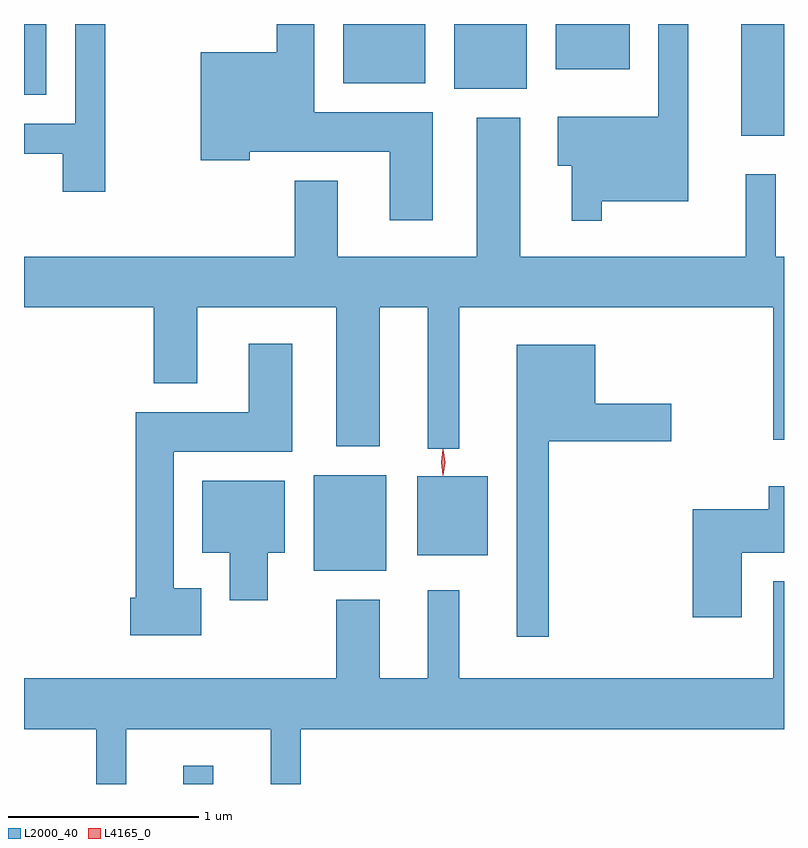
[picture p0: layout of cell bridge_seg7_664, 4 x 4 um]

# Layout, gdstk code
import gdstk
lib = gdstk.Library(unit=1e-6, precision=1e-09)
def R(c, l, rs):  # rectangles x0, y0, x1, y1
    for r in rs: c.add(gdstk.rectangle(r[:2], r[2:], *l))
def P(c, l, *ps):  # polygons
    for p in ps: c.add(gdstk.Polygon(p, *l))
L2000_40 = (2000, 40)
L4165_0 = (4165, 0)

bridge_seg7_664 = lib.new_cell('bridge_seg7_664')
R(bridge_seg7_664, L2000_40, [(962.576,1671.848,962.734,1671.943), (963.261,1672.971,963.644,1673.474), (963.806,1673.051,964.179,1673.469), (965.511,1675.261,965.737,1675.848), (961.737,1675.476,961.854,1675.848), (964.001,1675.506,964.384,1675.848), (963.416,1675.536,963.849,1675.848), (964.536,1675.611,964.924,1675.848)])
P(bridge_seg7_664, L2000_40, [(963.889,1675.384),(963.264,1675.384),(963.264,1675.848),(963.066,1675.848),(963.066,1675.699),(962.666,1675.699),(962.666,1675.131),(962.924,1675.131),(962.924,1675.176),(963.661,1675.176),(963.661,1674.816),(963.889,1674.816)],
  [(962.164,1675.848),(962.006,1675.848),(962.006,1675.324),(961.737,1675.324),(961.737,1675.166),(961.941,1675.166),(961.941,1674.966),(962.164,1674.966)],
  [(964.779,1674.916),(965.234,1674.916),(965.234,1675.848),(965.076,1675.848),(965.076,1675.359),(964.546,1675.359),(964.546,1675.101),(964.621,1675.101),(964.621,1674.813),(964.779,1674.813)],
  [(964.029,1674.356),(965.681,1674.356),(965.681,1673.661),(965.737,1673.661),(965.737,1674.624),(965.694,1674.624),(965.694,1675.058),(965.536,1675.058),(965.536,1674.624),(964.349,1674.624),(964.349,1675.354),(964.121,1675.354),(964.121,1674.624),(963.389,1674.624),(963.389,1675.024),(963.161,1675.024),(963.161,1674.624),(961.737,1674.624),(961.737,1674.356),(962.421,1674.356),(962.421,1673.956),(962.649,1673.956),(962.649,1674.356),(963.381,1674.356),(963.381,1673.626),(963.609,1673.626),(963.609,1674.356),(963.861,1674.356),(963.861,1673.613),(964.029,1673.613)],
  [(962.669,1672.879),(962.524,1672.879),(962.524,1673.596),(963.149,1673.596),(963.149,1674.164),(962.921,1674.164),(962.921,1673.804),(962.326,1673.804),(962.326,1672.829),(962.296,1672.829),(962.296,1672.631),(962.669,1672.631)],
  [(964.499,1673.651),(965.144,1673.651),(965.144,1673.849),(964.744,1673.849),(964.744,1674.159),(964.331,1674.159),(964.331,1672.623),(964.499,1672.623)],
  [(963.019,1673.066),(963.109,1673.066),(963.109,1673.444),(962.676,1673.444),(962.676,1673.066),(962.821,1673.066),(962.821,1672.816),(963.019,1672.816)],
  [(965.514,1673.066),(965.737,1673.066),(965.737,1673.414),(965.656,1673.414),(965.656,1673.294),(965.256,1673.294),(965.256,1672.726),(965.514,1672.726)],
  [(962.274,1672.136),(963.036,1672.136),(963.036,1671.848),(963.194,1671.848),(963.194,1672.136),(965.737,1672.136),(965.737,1672.914),(965.681,1672.914),(965.681,1672.404),(964.029,1672.404),(964.029,1672.868),(963.861,1672.868),(963.861,1672.404),(963.609,1672.404),(963.609,1672.819),(963.381,1672.819),(963.381,1672.404),(961.737,1672.404),(961.737,1672.136),(962.116,1672.136),(962.116,1671.848),(962.274,1671.848)])
P(bridge_seg7_664, L4165_0, [(963.942,1673.474),(963.933,1673.542),(963.942,1673.61),(963.943,1673.61),(963.943,1673.61),(963.953,1673.542),(963.943,1673.474),(963.943,1673.474)],
  [(963.942,1673.478),(963.933,1673.542),(963.942,1673.607),(963.943,1673.607),(963.943,1673.607),(963.953,1673.542),(963.943,1673.478),(963.943,1673.478)])

lib.write_gds('bridge_seg7_664.gds')
